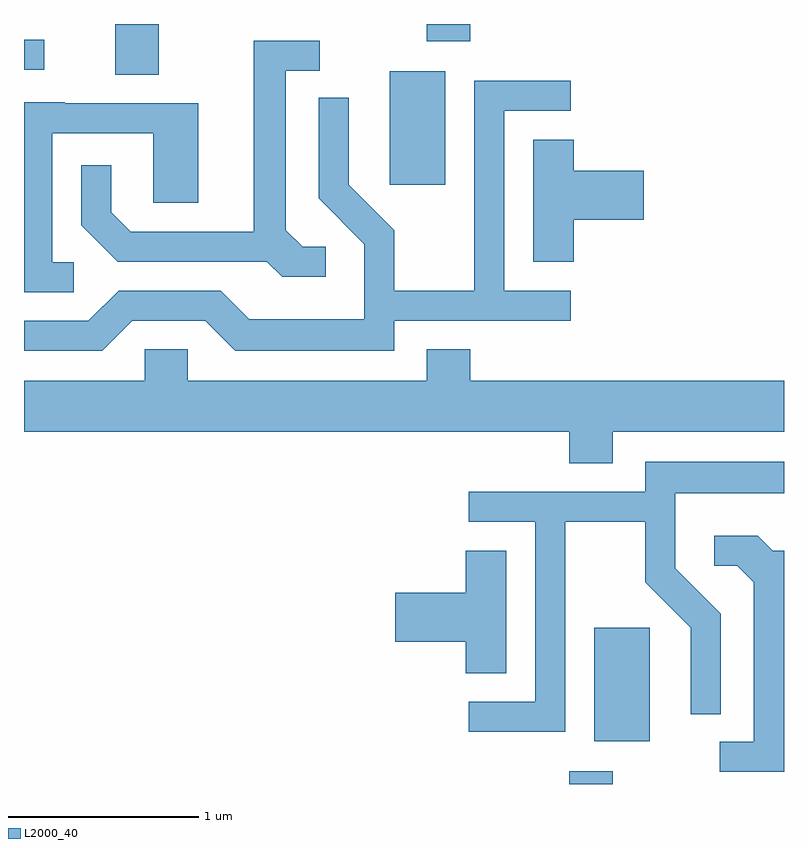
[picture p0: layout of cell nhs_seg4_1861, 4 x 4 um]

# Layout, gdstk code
import gdstk
lib = gdstk.Library(unit=1e-6, precision=1e-09)
def R(c, l, rs):  # rectangles x0, y0, x1, y1
    for r in rs: c.add(gdstk.rectangle(r[:2], r[2:], *l))
def P(c, l, *ps):  # polygons
    for p in ps: c.add(gdstk.Polygon(p, *l))
L2000_40 = (2000, 40)

nhs_seg4_1861 = lib.new_cell('nhs_seg4_1861')
R(nhs_seg4_1861, L2000_40, [(242.481,1303.982,242.709,1304.049), (242.611,1304.206,242.904,1304.804), (241.536,1307.136,241.829,1307.734), (240.091,1307.716,240.319,1307.982), (239.611,1307.741,239.718,1307.899), (241.731,1307.891,241.959,1307.982)])
P(nhs_seg4_1861, L2000_40, [(241.198,1306.809),(241.077,1306.809),(240.989,1306.897),(240.989,1307.736),(241.168,1307.736),(241.168,1307.894),(240.821,1307.894),(240.821,1306.889),(240.172,1306.889),(240.069,1306.992),(240.069,1307.238),(239.911,1307.238),(239.911,1306.924),(240.104,1306.731),(240.889,1306.731),(240.969,1306.651),(241.198,1306.651)],
  [(240.182,1306.421),(240.564,1306.421),(240.724,1306.261),(241.559,1306.261),(241.559,1306.421),(242.488,1306.421),(242.488,1306.579),(242.139,1306.579),(242.139,1307.526),(242.488,1307.526),(242.488,1307.684),(241.981,1307.684),(241.981,1306.579),(241.559,1306.579),(241.559,1306.897),(241.319,1307.137),(241.319,1307.593),(241.161,1307.593),(241.161,1307.064),(241.401,1306.824),(241.401,1306.429),(240.797,1306.429),(240.647,1306.579),(240.109,1306.579),(239.949,1306.419),(239.611,1306.419),(239.611,1306.261),(240.022,1306.261)],
  [(239.873,1306.729),(239.759,1306.729),(239.759,1307.406),(240.291,1307.406),(240.291,1307.041),(240.529,1307.041),(240.529,1307.564),(239.825,1307.564),(239.825,1307.569),(239.611,1307.569),(239.611,1306.571),(239.873,1306.571)],
  [(242.504,1306.951),(242.874,1306.951),(242.874,1307.209),(242.504,1307.209),(242.504,1307.374),(242.291,1307.374),(242.291,1306.731),(242.504,1306.731)],
  [(242.709,1305.836),(243.611,1305.836),(243.611,1306.104),(241.959,1306.104),(241.959,1306.269),(241.731,1306.269),(241.731,1306.104),(240.474,1306.104),(240.474,1306.269),(240.246,1306.269),(240.246,1306.104),(239.611,1306.104),(239.611,1305.836),(242.481,1305.836),(242.481,1305.671),(242.709,1305.671)],
  [(242.459,1305.361),(242.881,1305.361),(242.881,1305.044),(243.121,1304.804),(243.121,1304.348),(243.279,1304.348),(243.279,1304.877),(243.039,1305.117),(243.039,1305.511),(243.611,1305.511),(243.611,1305.679),(242.881,1305.679),(242.881,1305.519),(241.953,1305.519),(241.953,1305.361),(242.301,1305.361),(242.301,1304.414),(241.953,1304.414),(241.953,1304.256),(242.459,1304.256)],
  [(243.611,1305.209),(243.552,1305.209),(243.472,1305.289),(243.243,1305.289),(243.243,1305.131),(243.364,1305.131),(243.451,1305.044),(243.451,1304.204),(243.273,1304.204),(243.273,1304.046),(243.611,1304.046)],
  [(242.149,1305.209),(241.936,1305.209),(241.936,1304.989),(241.566,1304.989),(241.566,1304.731),(241.936,1304.731),(241.936,1304.566),(242.149,1304.566)])

lib.write_gds('nhs_seg4_1861.gds')
